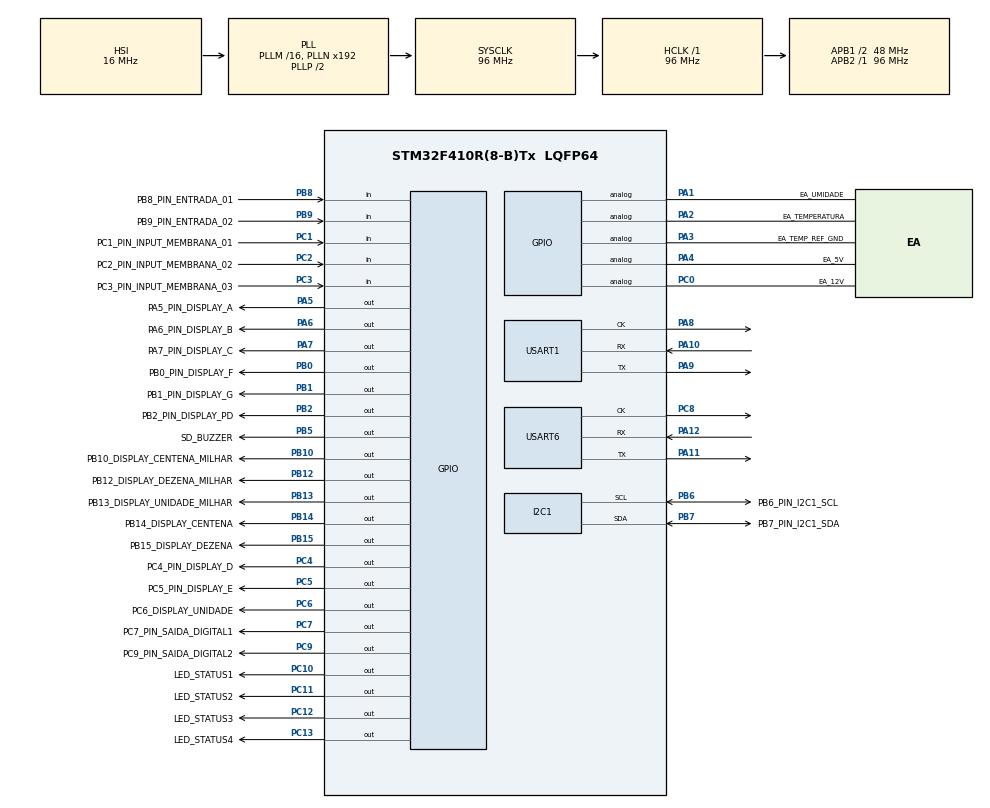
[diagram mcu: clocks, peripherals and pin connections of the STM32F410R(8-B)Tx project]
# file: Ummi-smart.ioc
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Mcu.Family=STM32F4
Mcu.Name=STM32F410R(8-B)Tx
Mcu.Package=LQFP64
NVIC.PriorityGroup=NVIC_PRIORITYGROUP_4
PA0-WKUP.Mode=SYS_WakeUp0
PA0-WKUP.Signal=SYS_WKUP1
PA1.GPIO_Label=EA_UMIDADE
PA1.Signal=GPIO_Analog
PA10.Mode=Synchronous
PA10.Signal=USART1_RX
PA11.Mode=Synchronous
PA11.Signal=USART6_TX
PA12.Mode=Synchronous
PA12.Signal=USART6_RX
PA13.Mode=JTAG_5_pins
PA13.Signal=SYS_JTMS-SWDIO
PA14.Mode=JTAG_5_pins
PA14.Signal=SYS_JTCK-SWCLK
PA15.Mode=JTAG_5_pins
PA15.Signal=SYS_JTDI
PA2.GPIO_Label=EA_TEMPERATURA
PA2.Signal=GPIO_Analog
PA3.GPIO_Label=EA_TEMP_REF_GND
PA3.Signal=GPIO_Analog
PA4.GPIO_Label=EA_5V
PA4.Signal=GPIO_Analog
PA5.GPIO_Label=PA5_PIN_DISPLAY_A
PA5.Signal=GPIO_Output
PA6.GPIO_Label=PA6_PIN_DISPLAY_B
PA6.Signal=GPIO_Output
PA7.GPIO_Label=PA7_PIN_DISPLAY_C
PA7.Signal=GPIO_Output
PA8.Mode=Synchronous
PA8.Signal=USART1_CK
PA9.Mode=Synchronous
PA9.Signal=USART1_TX
PB0.GPIO_Label=PB0_PIN_DISPLAY_F
PB0.Signal=GPIO_Output
PB1.GPIO_Label=PB1_PIN_DISPLAY_G
PB1.Signal=GPIO_Output
PB10.GPIO_Label=PB10_DISPLAY_CENTENA_MILHAR
PB10.Signal=GPIO_Output
PB12.GPIO_Label=PB12_DISPLAY_DEZENA_MILHAR
PB12.Signal=GPIO_Output
PB13.GPIO_Label=PB13_DISPLAY_UNIDADE_MILHAR
PB13.Signal=GPIO_Output
PB14.GPIO_Label=PB14_DISPLAY_CENTENA
PB14.Signal=GPIO_Output
PB15.GPIO_Label=PB15_DISPLAY_DEZENA
PB15.Signal=GPIO_Output
PB2.GPIO_Label=PB2_PIN_DISPLAY_PD
PB2.Signal=GPIO_Output
PB3.Mode=JTAG_5_pins
PB3.Signal=SYS_JTDO-SWO
PB4.Mode=JTAG_5_pins
PB4.Signal=SYS_JTRST
PB5.GPIO_Label=SD_BUZZER
PB5.Signal=GPIO_Output
PB6.GPIO_Label=PB6_PIN_I2C1_SCL
PB6.Mode=I2C
PB6.Signal=I2C1_SCL
PB7.GPIO_Label=PB7_PIN_I2C1_SDA
PB7.Mode=I2C
PB7.Signal=I2C1_SDA
PB8.GPIO_Label=PB8_PIN_ENTRADA_01
PB8.GPIO_PuPd=GPIO_PULLDOWN
PB8.Signal=GPIO_Input
PB9.GPIO_Label=PB9_PIN_ENTRADA_02
PB9.GPIO_PuPd=GPIO_PULLDOWN
PB9.Signal=GPIO_Input
PC0.GPIO_Label=EA_12V
PC0.Signal=GPIO_Analog
PC1.GPIO_Label=PC1_PIN_INPUT_MEMBRANA_01
PC1.GPIO_PuPd=GPIO_PULLUP
PC1.Signal=GPIO_Input
PC10.GPIO_Label=LED_STATUS1
PC10.Signal=GPIO_Output
PC11.GPIO_Label=LED_STATUS2
PC11.Signal=GPIO_Output
PC12.GPIO_Label=LED_STATUS3
PC12.Signal=GPIO_Output
PC13-ANTI_TAMP.GPIO_Label=LED_STATUS4
PC13-ANTI_TAMP.Signal=GPIO_Output
PC14-OSC32_IN.Mode=LSE-External-Oscillator
PC14-OSC32_IN.Signal=RCC_OSC32_IN
PC15-OSC32_OUT.Mode=LSE-External-Oscillator
PC15-OSC32_OUT.Signal=RCC_OSC32_OUT
PC2.GPIO_Label=PC2_PIN_INPUT_MEMBRANA_02
PC2.GPIO_PuPd=GPIO_PULLUP
PC2.Signal=GPIO_Input
PC3.GPIO_Label=PC3_PIN_INPUT_MEMBRANA_03
PC3.GPIO_PuPd=GPIO_PULLUP
PC3.Signal=GPIO_Input
PC4.GPIO_Label=PC4_PIN_DISPLAY_D
PC4.Signal=GPIO_Output
PC5.GPIO_Label=PC5_PIN_DISPLAY_E
PC5.Signal=GPIO_Output
PC6.GPIO_Label=PC6_DISPLAY_UNIDADE
PC6.Signal=GPIO_Output
PC7.GPIO_Label=PC7_PIN_SAIDA_DIGITAL1
PC7.Signal=GPIO_Output
PC8.Mode=Synchronous
PC8.Signal=USART6_CK
PC9.GPIO_Label=PC9_PIN_SAIDA_DIGITAL2
PC9.Signal=GPIO_Output
PH0\ -\ OSC_IN.Signal=RCC_OSC_IN
PH1\ -\ OSC_OUT.Signal=RCC_OSC_OUT
ProjectManager.HeapSize=0x200
ProjectManager.StackSize=0x400
ProjectManager.TargetToolchain=STM32CubeIDE
RCC.48MHZClocksFreq_Value=48000000
RCC.AHBFreq_Value=96000000
RCC.APB1CLKDivider=RCC_HCLK_DIV2
RCC.APB1Freq_Value=48000000
RCC.APB1TimFreq_Value=96000000
RCC.APB2Freq_Value=96000000
RCC.APB2TimFreq_Value=96000000
RCC.CortexFreq_Value=96000000
RCC.HCLKFreq_Value=96000000
RCC.HSE_VALUE=25000000
RCC.HSI_VALUE=16000000
RCC.RCC_RTC_Clock_Source=RCC_RTCCLKSOURCE_LSE
RCC.RCC_RTC_Clock_SourceVirtual=RCC_RTCCLKSOURCE_LSE
RCC.SYSCLKFreq_VALUE=96000000
RCC.SYSCLKSource=RCC_SYSCLKSOURCE_PLLCLK
RCC.VCOOutputFreq_Value=192000000
USART1.VirtualMode=VM_SYNC
USART6.VirtualMode=VM_SYNC
VP_RTC_VS_RTC_Activate.Mode=RTC_Enabled
board=custom

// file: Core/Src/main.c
/* USER CODE BEGIN Header */
/**
 ******************************************************************************
 * @file           : main.c
 * @brief          : Ummi Control (termo-higrometro) — orquestracao principal.
 ******************************************************************************
 * @attention
 *
 * Copyright (c) 2026 STMicroelectronics.
 * All rights reserved.
 *
 * This software is licensed under terms that can be found in the LICENSE file
 * in the root directory of this software component.
 * If no LICENSE file comes with this software, it is provided AS-IS.
 *
 ******************************************************************************
 */
/* USER CODE END Header */
#include "main.h"

/* USER CODE BEGIN Includes */
#include "defines.h"
#include "display.h"
#include "timer.h"
#include "config.h"
#include "sensors.h"
#include "rtc_app.h"
#include "datalog.h"
#include "control.h"
#include "ui.h"
#include "protocol.h"
/* USER CODE END Includes */

I2C_HandleTypeDef hi2c1;

RTC_HandleTypeDef hrtc;

USART_HandleTypeDef husart1;
USART_HandleTypeDef husart6;

/* USER CODE BEGIN PV */
static uint8_t leitura_analogica_div = 0; /* divisor 10 ms -> 20 ms */
/* USER CODE END PV */

void SystemClock_Config(void);
static void MX_GPIO_Init(void);
static void MX_I2C1_Init(void);
static void MX_RTC_Init(void);
static void MX_USART1_Init(void);
static void MX_USART6_Init(void);
/* USER CODE BEGIN PFP */
static void iwdg_start(void);
void iwdg_refresh(void); /* publico: chamado por config.c durante o erase da Flash */
static void saidas_estado_seguro(void);
static void rtc_clock_config(void);
/* USER CODE END PFP */

int main(void)
{

  /* MCU Configuration--------------------------------------------------------*/
  HAL_Init();

  /* USER CODE BEGIN Init */
  __HAL_RCC_PWR_CLK_ENABLE();
  HAL_PWR_EnableBkUpAccess();
  /* USER CODE END Init */

  SystemClock_Config();

  /* Initialize all configured peripherals */
  MX_GPIO_Init();
  saidas_estado_seguro();
  MX_I2C1_Init();
  rtc_clock_config(); /* LSE com fallback LSI, antes de inicializar o RTC */
  MX_RTC_Init();
  MX_USART1_Init();
  MX_USART6_Init();
  /* USER CODE BEGIN 2 */
  ui_splash_marca(); /* marca BE1 1.0 ja no boot, antes das inits longas */
  sensors_init();
  config_init();
  rtc_app_init();
  datalog_init();
  control_init();
  protocol_init();
  ui_init();

  ui_splash_inicial(); /* sequencia bloqueante curta (antes do IWDG) */

  iwdg_start(); /* watchdog ligado apos o splash */
  /* USER CODE END 2 */

  /* Infinite loop */
  while (1) {

    /* USER CODE BEGIN 3 */
    iwdg_refresh();

    if (timer_flag_10ms) {
      timer_flag_10ms = 0;
      if (++leitura_analogica_div >= 2U) {
        leitura_analogica_div = 0;
        sensors_update();
      }
    }

    if (timer_flag_50ms) {
      timer_flag_50ms = 0;
      ui_tick_50ms();
      control_tick_50ms();
    }

    if (timer_flag_1000ms) {
      timer_flag_1000ms = 0;
      datalog_tick_1s();
    }

    protocol_process();
    ui_tick();
  }
  /* USER CODE END 3 */
}

void SystemClock_Config(void)
{
  RCC_OscInitTypeDef RCC_OscInitStruct = {0};
  RCC_ClkInitTypeDef RCC_ClkInitStruct = {0};

  __HAL_RCC_PWR_CLK_ENABLE();
  __HAL_PWR_VOLTAGESCALING_CONFIG(PWR_REGULATOR_VOLTAGE_SCALE1);

  /* LSE removido daqui: a fonte do RTC e configurada em rtc_clock_config() com
   * fallback para LSI, para nao depender do cristal de 32 kHz no boot. */
  RCC_OscInitStruct.OscillatorType = RCC_OSCILLATORTYPE_HSI;
  RCC_OscInitStruct.HSIState = RCC_HSI_ON;
  RCC_OscInitStruct.HSICalibrationValue = RCC_HSICALIBRATION_DEFAULT;
  RCC_OscInitStruct.PLL.PLLState = RCC_PLL_ON;
  RCC_OscInitStruct.PLL.PLLSource = RCC_PLLSOURCE_HSI;
  RCC_OscInitStruct.PLL.PLLM = 16;
  RCC_OscInitStruct.PLL.PLLN = 192;
  RCC_OscInitStruct.PLL.PLLP = RCC_PLLP_DIV2;
  RCC_OscInitStruct.PLL.PLLQ = 4;
  RCC_OscInitStruct.PLL.PLLR = 2;
  if (HAL_RCC_OscConfig(&RCC_OscInitStruct) != HAL_OK)
  {
    Error_Handler();
  }

  RCC_ClkInitStruct.ClockType = RCC_CLOCKTYPE_HCLK|RCC_CLOCKTYPE_SYSCLK
                              |RCC_CLOCKTYPE_PCLK1|RCC_CLOCKTYPE_PCLK2;
  RCC_ClkInitStruct.SYSCLKSource = RCC_SYSCLKSOURCE_PLLCLK;
  RCC_ClkInitStruct.AHBCLKDivider = RCC_SYSCLK_DIV1;
  RCC_ClkInitStruct.APB1CLKDivider = RCC_HCLK_DIV2;
  RCC_ClkInitStruct.APB2CLKDivider = RCC_HCLK_DIV1;

  if (HAL_RCC_ClockConfig(&RCC_ClkInitStruct, FLASH_LATENCY_3) != HAL_OK)
  {
    Error_Handler();
  }
}

static void MX_I2C1_Init(void)
{
  hi2c1.Instance = I2C1;
  hi2c1.Init.ClockSpeed = 100000;
  hi2c1.Init.DutyCycle = I2C_DUTYCYCLE_2;
  hi2c1.Init.OwnAddress1 = 0;
  hi2c1.Init.AddressingMode = I2C_ADDRESSINGMODE_7BIT;
  hi2c1.Init.DualAddressMode = I2C_DUALADDRESS_DISABLE;
  hi2c1.Init.OwnAddress2 = 0;
  hi2c1.Init.GeneralCallMode = I2C_GENERALCALL_DISABLE;
  hi2c1.Init.NoStretchMode = I2C_NOSTRETCH_DISABLE;
  if (HAL_I2C_Init(&hi2c1) != HAL_OK)
  {
    Error_Handler();
  }
}

static void MX_RTC_Init(void)
{
  hrtc.Instance = RTC;
  hrtc.Init.HourFormat = RTC_HOURFORMAT_24;
  hrtc.Init.AsynchPrediv = 127;
  hrtc.Init.SynchPrediv = 255;
  hrtc.Init.OutPut = RTC_OUTPUT_DISABLE;
  hrtc.Init.OutPutPolarity = RTC_OUTPUT_POLARITY_HIGH;
  hrtc.Init.OutPutType = RTC_OUTPUT_TYPE_OPENDRAIN;
  if (HAL_RTC_Init(&hrtc) != HAL_OK)
  {
    Error_Handler();
  }
}

static void MX_USART1_Init(void)
{
  husart1.Instance = USART1;
  husart1.Init.BaudRate = 9600;
  husart1.Init.WordLength = USART_WORDLENGTH_8B;
  husart1.Init.StopBits = USART_STOPBITS_1;
  husart1.Init.Parity = USART_PARITY_NONE;
  husart1.Init.Mode = USART_MODE_TX_RX;
  husart1.Init.CLKPolarity = USART_POLARITY_LOW;
  husart1.Init.CLKPhase = USART_PHASE_1EDGE;
  husart1.Init.CLKLastBit = USART_LASTBIT_DISABLE;
  if (HAL_USART_Init(&husart1) != HAL_OK)
  {
    Error_Handler();
  }
  /* USART1 e reconfigurado como assincrono 8N1 em protocol_init(). */
}

static void MX_USART6_Init(void)
{
  husart6.Instance = USART6;
  husart6.Init.BaudRate = 115200;
  husart6.Init.WordLength = USART_WORDLENGTH_8B;
  husart6.Init.StopBits = USART_STOPBITS_1;
  husart6.Init.Parity = USART_PARITY_NONE;
  husart6.Init.Mode = USART_MODE_TX_RX;
  husart6.Init.CLKPolarity = USART_POLARITY_LOW;
  husart6.Init.CLKPhase = USART_PHASE_1EDGE;
  husart6.Init.CLKLastBit = USART_LASTBIT_DISABLE;
  if (HAL_USART_Init(&husart6) != HAL_OK)
  {
    Error_Handler();
  }
}

/* USER CODE BEGIN 4 */
/**
  * @brief Watchdog independente por registradores (~2,5 s @LSI ~32 kHz).
  *        LSI/64 ~= 500 Hz; reload 1250 -> ~2,5 s. O driver HAL do IWDG nao
  *        esta incluido neste projeto, por isso o acesso direto fica isolado
  *        aqui (main.c e o "dono" do watchdog). Outros modulos chamam
  *        iwdg_refresh() — sem tocar em registradores.
  */
static void iwdg_start(void)
{
  /* Timeout = RLR * prescaler / f_LSI. O LSI do STM32F4 tem tolerancia larga
   * (~17..47 kHz), entao o pior caso (LSI rapido) encurta o timeout:
   *   /64, RLR=2500 -> ~5,0 s nominal (32 kHz); ~3,4 s (47 kHz); ~9,4 s (17 kHz)
   * Dimensionado para cobrir com folga o erase do setor de 64 KB (~2 s, ate
   * ~2,5 s no pior caso) realimentado imediatamente antes em config_salva().
   * Com RLR=1250 (2,5 s nom.) o pior caso caia para ~1,7 s, abaixo do erase. */
  IWDG->KR = 0x5555U;   /* habilita escrita em PR/RLR */
  IWDG->PR = 0x04U;     /* prescaler /64 */
  IWDG->RLR = 2500U;    /* reload (~5 s nominal) */
  IWDG->KR = 0xAAAAU;   /* refresh inicial */
  IWDG->KR = 0xCCCCU;   /* start */
}

/**
  * @brief Configura a fonte de clock do RTC com fallback.
  *        Tenta o LSE (cristal 32.768 kHz); se ele nao partir (cristal ausente
  *        ou defeituoso), cai para o LSI interno. Evita que a unidade fique
  *        inoperante (boot travado no Error_Handler) apenas por causa do RTC.
  *        No fallback o relogio fica menos preciso (deriva do LSI), mas o
  *        controle de temperatura/umidade e o datalogger continuam operando.
  *        Deve ser chamada com o acesso ao dominio de backup ja habilitado e
  *        antes de MX_RTC_Init().
  */
static void rtc_clock_config(void)
{
  RCC_OscInitTypeDef osc = {0};
  RCC_PeriphCLKInitTypeDef pclk = {0};

  osc.OscillatorType = RCC_OSCILLATORTYPE_LSE;
  osc.PLL.PLLState = RCC_PLL_NONE; /* nao mexe no PLL ja configurado */
  osc.LSEState = RCC_LSE_ON;
  if (HAL_RCC_OscConfig(&osc) == HAL_OK) {
    pclk.PeriphClockSelection = RCC_PERIPHCLK_RTC;
    pclk.RTCClockSelection = RCC_RTCCLKSOURCE_LSE;
    if (HAL_RCCEx_PeriphCLKConfig(&pclk) == HAL_OK) {
      return; /* LSE OK */
    }
  }

  /* Fallback: LSI (~32 kHz nominal; os predividers do RTC ficam aproximados). */
  osc.OscillatorType = RCC_OSCILLATORTYPE_LSI;
  osc.PLL.PLLState = RCC_PLL_NONE;
  osc.LSEState = RCC_LSE_OFF;
  osc.LSIState = RCC_LSI_ON;
  if (HAL_RCC_OscConfig(&osc) == HAL_OK) {
    pclk.PeriphClockSelection = RCC_PERIPHCLK_RTC;
    pclk.RTCClockSelection = RCC_RTCCLKSOURCE_LSI;
    (void)HAL_RCCEx_PeriphCLKConfig(&pclk);
  }
}

void iwdg_refresh(void)
{
  IWDG->KR = 0xAAAAU;
}

/**
  * @brief Coloca todas as saidas em estado seguro (reles e buzzer desligados).
  */
static void saidas_estado_seguro(void)
{
  HAL_GPIO_WritePin(SAIDA_01_PORT, SAIDA_01, LOW);
  HAL_GPIO_WritePin(SAIDA_02_PORT, SAIDA_02, LOW);
  HAL_GPIO_WritePin(SD_BUZZER_GPIO_Port, SD_BUZZER_Pin, LOW);
}
/* USER CODE END 4 */

static void MX_GPIO_Init(void)
{
  GPIO_InitTypeDef GPIO_InitStruct = {0};

  /* GPIO Ports Clock Enable */
  __HAL_RCC_GPIOC_CLK_ENABLE();
  __HAL_RCC_GPIOH_CLK_ENABLE();
  __HAL_RCC_GPIOA_CLK_ENABLE();
  __HAL_RCC_GPIOB_CLK_ENABLE();

  /*Configure GPIO pin Output Level */
  HAL_GPIO_WritePin(GPIOC, LED_STATUS4_Pin|PC4_PIN_DISPLAY_D_Pin|PC5_PIN_DISPLAY_E_Pin|PC6_DISPLAY_UNIDADE_Pin
                          |PC7_PIN_SAIDA_DIGITAL1_Pin|PC9_PIN_SAIDA_DIGITAL2_Pin|LED_STATUS1_Pin|LED_STATUS2_Pin
                          |LED_STATUS3_Pin, GPIO_PIN_RESET);

  /*Configure GPIO pin Output Level */
  HAL_GPIO_WritePin(GPIOA, PA5_PIN_DISPLAY_A_Pin|PA6_PIN_DISPLAY_B_Pin|PA7_PIN_DISPLAY_C_Pin, GPIO_PIN_RESET);

  /*Configure GPIO pin Output Level */
  HAL_GPIO_WritePin(GPIOB, PB0_PIN_DISPLAY_F_Pin|PB1_PIN_DISPLAY_G_Pin|PB2_PIN_DISPLAY_PD_Pin|PB10_DISPLAY_CENTENA_MILHAR_Pin
                          |PB12_DISPLAY_DEZENA_MILHAR_Pin|PB13_DISPLAY_UNIDADE_MILHAR_Pin|PB14_DISPLAY_CENTENA_Pin|PB15_DISPLAY_DEZENA_Pin
                          |SD_BUZZER_Pin, GPIO_PIN_RESET);

  /*Configure GPIO pins : LED/DISPLAY/SAIDAS em GPIOC */
  GPIO_InitStruct.Pin = LED_STATUS4_Pin|PC4_PIN_DISPLAY_D_Pin|PC5_PIN_DISPLAY_E_Pin|PC6_DISPLAY_UNIDADE_Pin
                          |PC7_PIN_SAIDA_DIGITAL1_Pin|PC9_PIN_SAIDA_DIGITAL2_Pin|LED_STATUS1_Pin|LED_STATUS2_Pin
                          |LED_STATUS3_Pin;
  GPIO_InitStruct.Mode = GPIO_MODE_OUTPUT_PP;
  GPIO_InitStruct.Pull = GPIO_NOPULL;
  GPIO_InitStruct.Speed = GPIO_SPEED_FREQ_LOW;
  HAL_GPIO_Init(GPIOC, &GPIO_InitStruct);

  /*Configure GPIO pin : EA_12V_Pin */
  GPIO_InitStruct.Pin = EA_12V_Pin;
  GPIO_InitStruct.Mode = GPIO_MODE_ANALOG;
  GPIO_InitStruct.Pull = GPIO_NOPULL;
  HAL_GPIO_Init(EA_12V_GPIO_Port, &GPIO_InitStruct);

  /*Configure GPIO pins : botoes da membrana */
  GPIO_InitStruct.Pin = PC1_PIN_INPUT_MEMBRANA_01_Pin|PC2_PIN_INPUT_MEMBRANA_02_Pin|PC3_PIN_INPUT_MEMBRANA_03_Pin;
  GPIO_InitStruct.Mode = GPIO_MODE_INPUT;
  GPIO_InitStruct.Pull = GPIO_PULLUP;
  HAL_GPIO_Init(GPIOC, &GPIO_InitStruct);

  /*Configure GPIO pins : entradas analogicas em GPIOA */
  GPIO_InitStruct.Pin = EA_UMIDADE_Pin|EA_TEMPERATURA_Pin|EA_TEMP_REF_GND_Pin|EA_5V_Pin;
  GPIO_InitStruct.Mode = GPIO_MODE_ANALOG;
  GPIO_InitStruct.Pull = GPIO_NOPULL;
  HAL_GPIO_Init(GPIOA, &GPIO_InitStruct);

  /*Configure GPIO pins : segmentos em GPIOA */
  GPIO_InitStruct.Pin = PA5_PIN_DISPLAY_A_Pin|PA6_PIN_DISPLAY_B_Pin|PA7_PIN_DISPLAY_C_Pin;
  GPIO_InitStruct.Mode = GPIO_MODE_OUTPUT_PP;
  GPIO_InitStruct.Pull = GPIO_NOPULL;
  GPIO_InitStruct.Speed = GPIO_SPEED_FREQ_LOW;
  HAL_GPIO_Init(GPIOA, &GPIO_InitStruct);

  /*Configure GPIO pins : segmentos/mux/buzzer em GPIOB */
  GPIO_InitStruct.Pin = PB0_PIN_DISPLAY_F_Pin|PB1_PIN_DISPLAY_G_Pin|PB2_PIN_DISPLAY_PD_Pin|PB10_DISPLAY_CENTENA_MILHAR_Pin
                          |PB12_DISPLAY_DEZENA_MILHAR_Pin|PB13_DISPLAY_UNIDADE_MILHAR_Pin|PB14_DISPLAY_CENTENA_Pin|PB15_DISPLAY_DEZENA_Pin
                          |SD_BUZZER_Pin;
  GPIO_InitStruct.Mode = GPIO_MODE_OUTPUT_PP;
  GPIO_InitStruct.Pull = GPIO_NOPULL;
  GPIO_InitStruct.Speed = GPIO_SPEED_FREQ_LOW;
  HAL_GPIO_Init(GPIOB, &GPIO_InitStruct);

  /*Configure GPIO pins : entradas digitais */
  GPIO_InitStruct.Pin = PB8_PIN_ENTRADA_01_Pin|PB9_PIN_ENTRADA_02_Pin;
  GPIO_InitStruct.Mode = GPIO_MODE_INPUT;
  GPIO_InitStruct.Pull = GPIO_PULLDOWN;
  HAL_GPIO_Init(GPIOB, &GPIO_InitStruct);

}

void Error_Handler(void)
{
  /* USER CODE BEGIN Error_Handler_Debug */
  saidas_estado_seguro();
  __disable_irq();
  while (1) {
  }
  /* USER CODE END Error_Handler_Debug */
}
#ifdef USE_FULL_ASSERT
void assert_failed(uint8_t *file, uint32_t line)
{
  /* USER CODE BEGIN 6 */
  (void)file;
  (void)line;
  /* USER CODE END 6 */
}
#endif /* USE_FULL_ASSERT */
